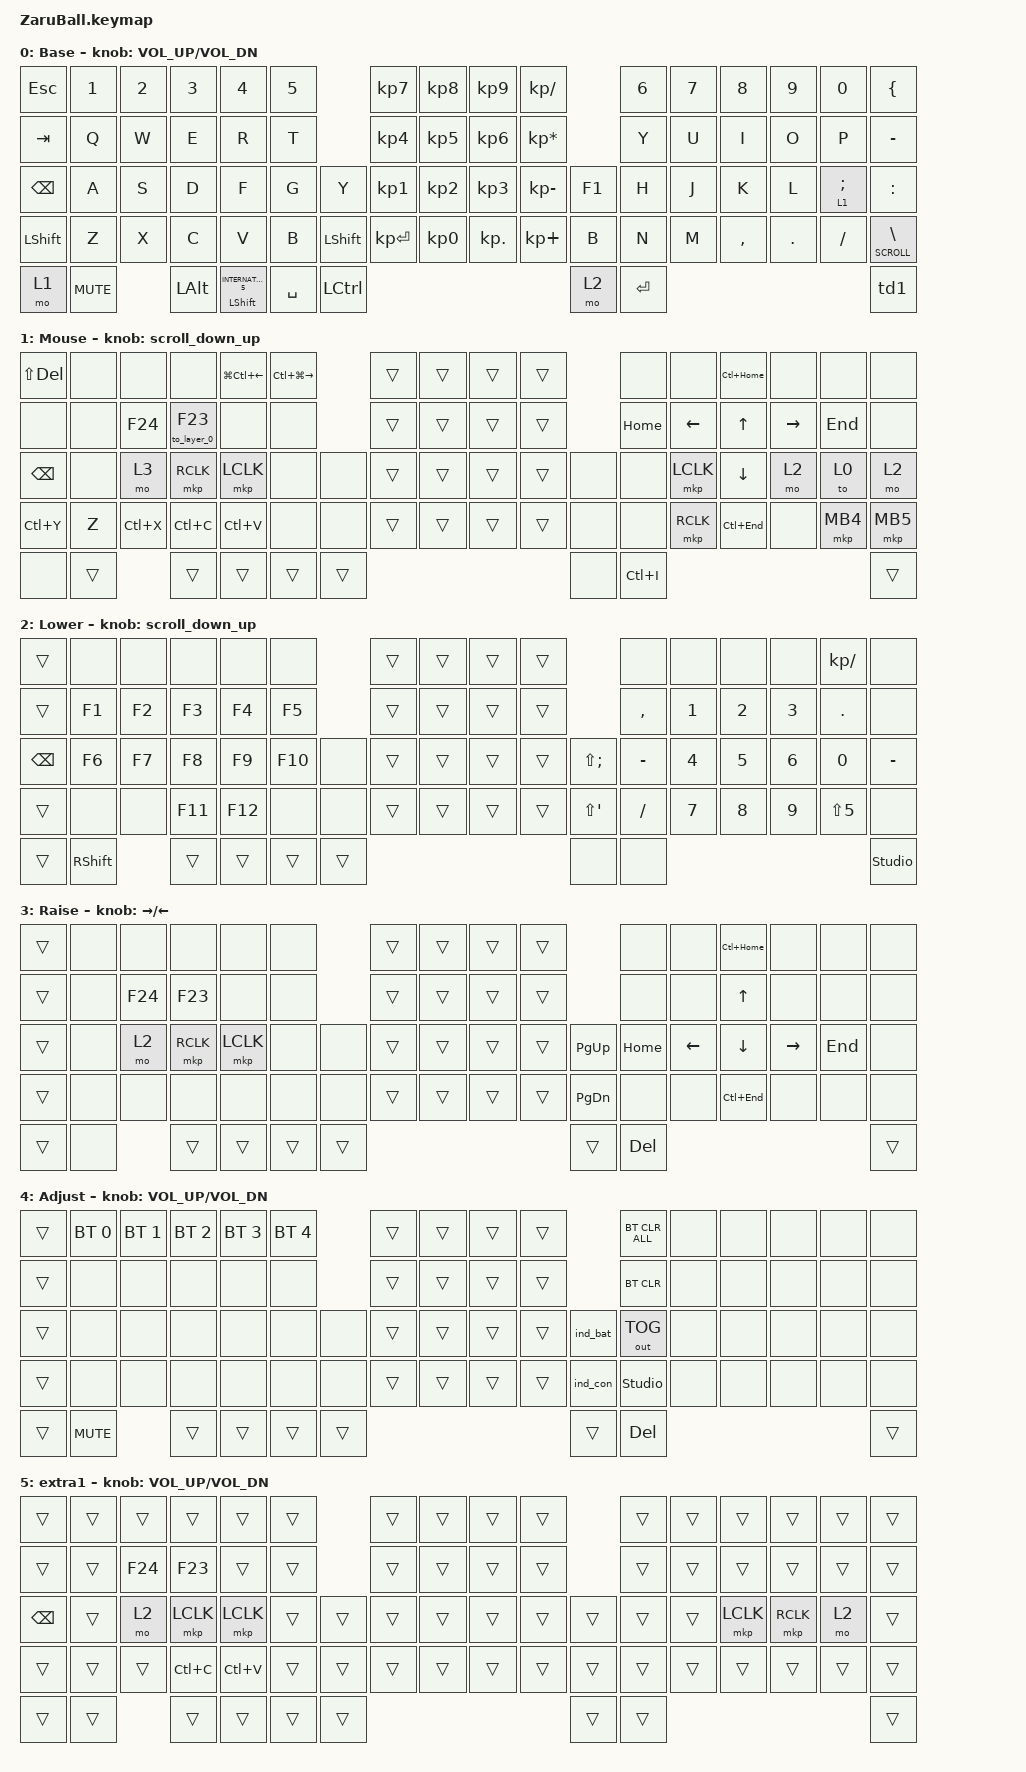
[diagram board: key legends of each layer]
//#include <dt-bindings/zmk/mouse.h>

#include <behaviors/rgbled_widget.dtsi>
#include <input/processors.dtsi>
#include <dt-bindings/zmk/input_transform.h>
#include <behaviors.dtsi>
#include <dt-bindings/zmk/bt.h>
#include <dt-bindings/zmk/keys.h>
#include <dt-bindings/zmk/outputs.h>
#include <dt-bindings/zmk/pointing.h>

#define BASE     0
#define MOUSE    1
#define LOWER    2
#define RAISE    3
#define ADJUST   4
#define SCROLL   2

// スクロール量の設定

#define ZMK_POINTING_DEFAULT_SCRL_VAL 100

&trackball_listener {
    input-processors = <
                         &zip_xy_transform (INPUT_TRANSFORM_XY_SWAP | INPUT_TRANSFORM_Y_INVERT | INPUT_TRANSFORM_X_INVERT)
                         //&zip_temp_layer MOUSE 50
    >;

    scroller {
        layers = <SCROLL>;
        input-processors = <
                            &zip_xy_transform (INPUT_TRANSFORM_XY_SWAP | INPUT_TRANSFORM_X_INVERT)
                            &zip_xy_scaler 1 20
                            &zip_xy_to_scroll_mapper
        >;
    };
};

/ {
    conditional_layers {
        compatible = "zmk,conditional-layers";

        tri_layer {
            if-layers = <2 3>;
            then-layer = <4>;
        };
    };
};

/ {
    behaviors {
        // スクロール用のbehaviorの設定

        scroll_down_up: behavior_sensor_rotate_mouse_wheel_down_up {
            compatible = "zmk,behavior-sensor-rotate";
            #sensor-binding-cells = <0>;
            bindings = <&msc SCRL_DOWN>, <&msc SCRL_UP>;

            tap-ms = <20>; // スクロールのタップ時間
        };

        td0: tap_dance_0 {
            compatible = "zmk,behavior-tap-dance";
            #binding-cells = <0>;
            tapping-term-ms = <200>;
            bindings = <&mt LALT LANG2>, <&mo RAISE>, <&mo MOUSE>;
        };

        td1: tap_dance_1 {
            compatible = "zmk,behavior-tap-dance";
            #binding-cells = <0>;
            tapping-term-ms = <200>;
            bindings = <&mt RCTL LANG1>, <&mo RAISE>, <&mo MOUSE>;
        };

        // Customed Hold-Tap for SandS

        SandS: SandS {
            compatible = "zmk,behavior-hold-tap";
            #binding-cells = <2>;
            flavor = "tap-unless-interrupted";
            tapping-term-ms = <500>;
            quick-tap-ms = <500>;
            bindings = <&kp>, <&kp>;

            display-name = "SandS";
        };
    };
};

// ホールドタップ共通設定
// flavor            : balanced = 他キーを「押して離す」までホールド確定を待つ
// tapping-term-ms   : この時間押し続けるとホールド確定
// quick-tap-ms      : 直前に同じキーをタップしていたら必ずタップ（;; などの連打対策）
// require-prior-idle-ms : 直前の打鍵からこの時間空いていなければ必ずタップ（速打ち対策の本命）

&mt {
    flavor = "balanced";
    tapping-term-ms = <200>;
    quick-tap-ms = <175>;
    require-prior-idle-ms = <150>;
};

&lt {
    flavor = "balanced";
    tapping-term-ms = <200>;
    quick-tap-ms = <175>;
    require-prior-idle-ms = <150>;
};

&sl { release-after-ms = <250>; }; // time needed for double click (for mkp_exit_AML)
/ {
    macros {
        // When in AML, move to default layer when key (except mouse button) pressed

        to_layer_0: to_layer_0 {
            compatible = "zmk,behavior-macro-one-param";
            #binding-cells = <1>;
            bindings = <&tog MOUSE &macro_param_1to1 &kp MACRO_PLACEHOLDER>;
            label = "TO_layer_0";
        };

        // When LCLK pressed, exit AML (after 250ms cause by sticky layer

        mkp_exit_AML: mkp_exit_AML {
            compatible = "zmk,behavior-macro-one-param";
            #binding-cells = <1>;
            bindings =
                <&macro_press>,
                <&macro_param_1to1 &mkp MACRO_PLACEHOLDER>,
                <&macro_pause_for_release>,
                <&macro_release>,
                <&macro_param_1to1 &mkp MACRO_PLACEHOLDER>,
                <&macro_tap>,
                <&sl MOUSE>;

            label = "MKP_EXIT_AML";
        };
    };
};

/ {
    keymap {
        compatible = "zmk,keymap";

        base_layer {
            display-name = "Base";
            sensor-bindings = <&inc_dec_kp C_VOL_UP C_VOL_DN>;
            bindings = <
&kp ESC        &kp N1      &kp N2  &kp N3        &kp N4                          &kp N5                         &kp KP_N7     &kp KP_N8  &kp KP_N9   &kp KP_DIVIDE              &kp NUMBER_6  &kp N7  &kp N8     &kp N9   &kp N0           &kp LEFT_BRACE
&kp TAB        &kp Q       &kp W   &kp E         &kp R                           &kp T                          &kp KP_N4     &kp KP_N5  &kp KP_N6   &kp KP_MULTIPLY            &kp Y         &kp U   &kp I      &kp O    &kp P            &kp MINUS
&kp BACKSPACE  &kp A       &kp S   &kp D         &kp F                           &kp G      &kp Y               &kp KP_N1     &kp KP_N2  &kp KP_N3   &kp KP_MINUS       &kp F1  &kp H         &kp J   &kp K      &kp L    &lt 1 SEMICOLON  &kp COLON
&kp LSHFT      &kp Z       &kp X   &kp C         &kp V                           &kp B      &kp LEFT_SHIFT      &kp KP_ENTER  &kp KP_N0  &kp KP_DOT  &kp KP_PLUS        &kp B   &kp N         &kp M   &kp COMMA  &kp DOT  &kp FSLH         &lt SCROLL BACKSLASH
&mo 1          &kp C_MUTE          &kp LEFT_ALT  &mt LEFT_SHIFT INTERNATIONAL_5  &kp SPACE  &kp LEFT_CONTROL                                                            &mo 2   &kp RETURN                                                 &td1
            >;
        };

        mouse_layer {
            display-name = "Mouse";
            sensor-bindings = <&scroll_down_up>;
            bindings = <
&kp LS(DELETE)  &none   &none      &none            &kp LG(LC(LEFT_ARROW))  &kp LC(LG(RIGHT_ARROW))            &trans  &trans  &trans  &trans           &none      &none           &kp LC(HOME)    &none            &none     &none
&none           &none   &kp F24    &to_layer_0 F23  &none                   &none                              &trans  &trans  &trans  &trans           &kp HOME   &kp LEFT_ARROW  &kp UP_ARROW    &kp RIGHT_ARROW  &kp END   &none
&kp BACKSPACE   &none   &mo 3      &mkp RCLK        &mkp LCLK               &none                    &none     &trans  &trans  &trans  &trans    &none  &none      &mkp LCLK       &kp DOWN_ARROW  &mo 2            &to 0     &mo 2
&kp LC(Y)       &kp Z   &kp LC(X)  &kp LC(C)        &kp LC(V)               &none                    &none     &trans  &trans  &trans  &trans    &none  &none      &mkp RCLK       &kp LC(END)     &none            &mkp MB4  &mkp MB5
&none           &trans             &trans           &trans                  &trans                   &trans                                      &none  &kp LC(I)                                                             &trans
            >;
        };

        lower_layer {
            display-name = "Lower";
            sensor-bindings = <&scroll_down_up>;
            bindings = <
&trans         &none      &none   &none    &none    &none              &trans  &trans  &trans  &trans                       &none      &none         &none         &none         &kp KP_SLASH  &none
&trans         &kp F1     &kp F2  &kp F3   &kp F4   &kp F5             &trans  &trans  &trans  &trans                       &kp COMMA  &kp NUMBER_1  &kp NUMBER_2  &kp NUMBER_3  &kp PERIOD    &none
&kp BACKSPACE  &kp F6     &kp F7  &kp F8   &kp F9   &kp F10  &none     &trans  &trans  &trans  &trans    &kp LS(SEMICOLON)  &kp MINUS  &kp NUMBER_4  &kp N5        &kp NUMBER_6  &kp NUMBER_0  &kp MINUS
&trans         &none      &none   &kp F11  &kp F12  &none    &none     &trans  &trans  &trans  &trans    &kp LS(SQT)        &kp SLASH  &kp N7        &kp NUMBER_8  &kp NUMBER_9  &kp LS(N5)    &none
&trans         &kp RSHFT          &trans   &trans   &trans   &trans                                      &none              &none                                                              &studio_unlock
            >;
        };

        raise_layer {
            display-name = "Raise";
            sensor-bindings = <&inc_dec_kp RIGHT LEFT>;
            bindings = <
&trans  &none  &none    &none      &none      &none             &trans  &trans  &trans  &trans               &none     &none     &kp LC(HOME)  &none      &none    &none
&trans  &none  &kp F24  &kp F23    &none      &none             &trans  &trans  &trans  &trans               &none     &none     &kp UP_ARROW  &none      &none    &none
&trans  &none  &mo 2    &mkp RCLK  &mkp LCLK  &none   &none     &trans  &trans  &trans  &trans    &kp PG_UP  &kp HOME  &kp LEFT  &kp DOWN      &kp RIGHT  &kp END  &none
&trans  &none  &none    &none      &none      &none   &none     &trans  &trans  &trans  &trans    &kp PG_DN  &none     &none     &kp LC(END)   &none      &none    &none
&trans  &none           &trans     &trans     &trans  &trans                                      &trans     &kp DEL                                               &trans
            >;
        };

        adjust_layer {
            display-name = "Adjust";
            sensor-bindings = <&inc_dec_kp C_VOL_UP C_VOL_DN>;
            bindings = <
&trans  &bt BT_SEL 0  &bt BT_SEL 1  &bt BT_SEL 2  &bt BT_SEL 3  &bt BT_SEL 4            &trans  &trans  &trans  &trans              &bt BT_CLR_ALL  &none  &none  &none  &none  &none
&trans  &none         &none         &none         &none         &none                   &trans  &trans  &trans  &trans              &bt BT_CLR      &none  &none  &none  &none  &none
&trans  &none         &none         &none         &none         &none         &none     &trans  &trans  &trans  &trans    &ind_bat  &out OUT_TOG    &none  &none  &none  &none  &none
&trans  &none         &none         &none         &none         &none         &none     &trans  &trans  &trans  &trans    &ind_con  &studio_unlock  &none  &none  &none  &none  &none
&trans  &kp C_MUTE                  &trans        &trans        &trans        &trans                                      &trans    &kp DEL                                     &trans
            >;
        };

        // Extra layer can be added in ZMK STUDIO

        extra1 {
            display-name = "extra1";
            sensor-bindings = <&inc_dec_kp C_VOL_UP C_VOL_DN>;
            bindings = <
&trans         &trans  &trans   &trans     &trans     &trans            &trans  &trans  &trans  &trans            &trans  &trans  &trans     &trans     &trans  &trans
&trans         &trans  &kp F24  &kp F23    &trans     &trans            &trans  &trans  &trans  &trans            &trans  &trans  &trans     &trans     &trans  &trans
&kp BACKSPACE  &trans  &mo 2    &mkp LCLK  &mkp LCLK  &trans  &trans    &trans  &trans  &trans  &trans    &trans  &trans  &trans  &mkp LCLK  &mkp RCLK  &mo 2   &trans
&trans         &trans  &trans   &kp LC(C)  &kp LC(V)  &trans  &trans    &trans  &trans  &trans  &trans    &trans  &trans  &trans  &trans     &trans     &trans  &trans
&trans         &trans           &trans     &trans     &trans  &trans                                      &trans  &trans                                        &trans
            >;
        };

        extra2 { status = "reserved"; };
    };
};
